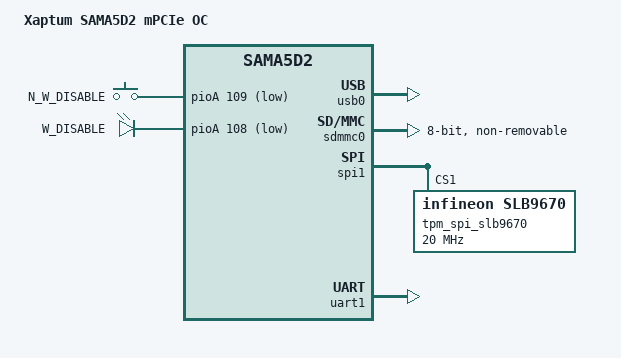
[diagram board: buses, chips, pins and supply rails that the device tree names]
/*
 * at91-sama5d2_xpt_mpcie.dts - Device Tree file for SAMA5D2 Xaptum mPCIe OC
 *
 * DAB-Embedded, 2018
 */

/dts-v1/;

#include "sama5d2.dtsi"
#include "sama5d2-pinfunc.h"
#include <dt-bindings/mfd/atmel-flexcom.h>
#include <dt-bindings/gpio/gpio.h>
#include <dt-bindings/pinctrl/at91.h>

/ {
	model = "Xaptum SAMA5D2 mPCIe OC";
	compatible = "xaptum,sama5d2-xpt-mpcie", "atmel,sama5d2", "atmel,sama5";

	chosen {
		stdout-path = "serial0:115200n8";
	};

	clocks {
		slow_xtal {
			clock-frequency = <32768>;
		};

		main_xtal {
			clock-frequency = <12000000>;
		};
	};

	ahb {
		usb0: gadget@00300000 {
			status = "okay";
		};

		usb1: ohci@00400000 {
			num-ports = <3>;
			status = "disabled";
		};

		usb2: ehci@00500000 {
			status = "disabled";
		};

		sdmmc0: sdio-host@a0000000 {
			bus-width = <8>;
			pinctrl-names = "default";
			pinctrl-0 = <&pinctrl_sdmmc0_default>;
			non-removable;
			max-frequency = <26000000>;
			mmc-hs200-1_8v;
			disable-wp;
			status = "okay";
		};

		apb {
			pmc: pmc@f0014000 {
				pmc_fast_restart {
					compatible = "atmel,sama5d2-pmc-fast-startup";
					#address-cells = <1>;
					#size-cells = <0>;

					atmel,wakeup-rtc-timer;

					wkpin: input@0 {
						reg = <0>;
					};
				};
			};

			spi1: spi@fc000000 {
				pinctrl-names = "default";
				pinctrl-0 = <&pinctrl_spi1_default>;
				status = "okay";

				tpm_spi_slb9670@1{
					compatible = "infineon,slb9670";
					reg = <1>;	/* CS1 */
					pinctrl-names = "default";
					pinctrl-0 = <&pinctrl_tpm_default>;
					spi-max-frequency = <20000000>;
				};
			};

			uart1: serial@f8020000 {
				pinctrl-names = "default";
				pinctrl-0 = <&pinctrl_uart1_default>;
				atmel,use-dma-rx;
				atmel,use-dma-tx;
				status = "okay";
			};

			pwm0: pwm@f802c000 {
				status = "disabled";
			};

			shdwc@f8048010 {
				atmel,shdwc-debouncer = <976>;
				atmel,wakeup-rtc-timer;

				input@0 {
					reg = <0>;
					atmel,wakeup-type = "low";
				};
			};

			watchdog@f8048040 {
				status = "okay";
			};

			pinctrl@fc038000 {
				pinctrl_key_gpio_default: key_gpio_default {
					pinmux = <PIN_PD13__GPIO>;
					bias-pull-up;
				};

				pinctrl_led_gpio_default: led_gpio_default {
					pinmux = <PIN_PD12__GPIO>;
					bias-pull-up;
				};

				pinctrl_sdmmc0_default: sdmmc0_default {
					cmd_data {
						pinmux = <PIN_PA1__SDMMC0_CMD>,
							 <PIN_PA2__SDMMC0_DAT0>,
							 <PIN_PA3__SDMMC0_DAT1>,
							 <PIN_PA4__SDMMC0_DAT2>,
							 <PIN_PA5__SDMMC0_DAT3>,
							 <PIN_PA6__SDMMC0_DAT4>,
							 <PIN_PA7__SDMMC0_DAT5>,
							 <PIN_PA8__SDMMC0_DAT6>,
							 <PIN_PA9__SDMMC0_DAT7>;
						bias-disable;
					};

					ck_cd_rstn_vddsel {
						pinmux = <PIN_PA0__SDMMC0_CK>,
							 <PIN_PA10__SDMMC0_RSTN>;
						bias-disable;
					};
				};

				pinctrl_spi1_default: spi1_default {
					pinmux = <PIN_PD25__SPI1_SPCK>,
						 <PIN_PD26__SPI1_MOSI>,
						 <PIN_PD27__SPI1_MISO>,
						 <PIN_PD28__SPI1_NPCS0>,
						 <PIN_PD29__SPI1_NPCS1>;
					bias-disable;
				};

				pinctrl_uart1_default: uart1_default {
					pinmux = <PIN_PD2__URXD1>,
						 <PIN_PD3__UTXD1>;
					bias-disable;
				};

				pinctrl_tpm_default: tmp_default {
					pinmux = <PIN_PD21__GPIO>,
						 <PIN_PD22__GPIO>,
						 <PIN_PD23__GPIO>;
					bias-disable;
				};

			};
		};
	};

	gpio_keys {
		compatible = "gpio-keys";

		pinctrl-names = "default";
		pinctrl-0 = <&pinctrl_key_gpio_default>;

		bp1 {
			label = "N_W_DISABLE";
			gpios = <&pioA 109 GPIO_ACTIVE_LOW>;
			linux,code = <0x104>;
			wakeup-source;
		};
	};

	leds {
		compatible = "gpio-leds";
		pinctrl-names = "default";
		pinctrl-0 = <&pinctrl_led_gpio_default>;
		status = "okay";

		w_disable {
			label = "W_DISABLE";
			gpios = <&pioA 108 GPIO_ACTIVE_LOW>;
			linux,default-trigger = "heartbeat";
		};
	};
};
